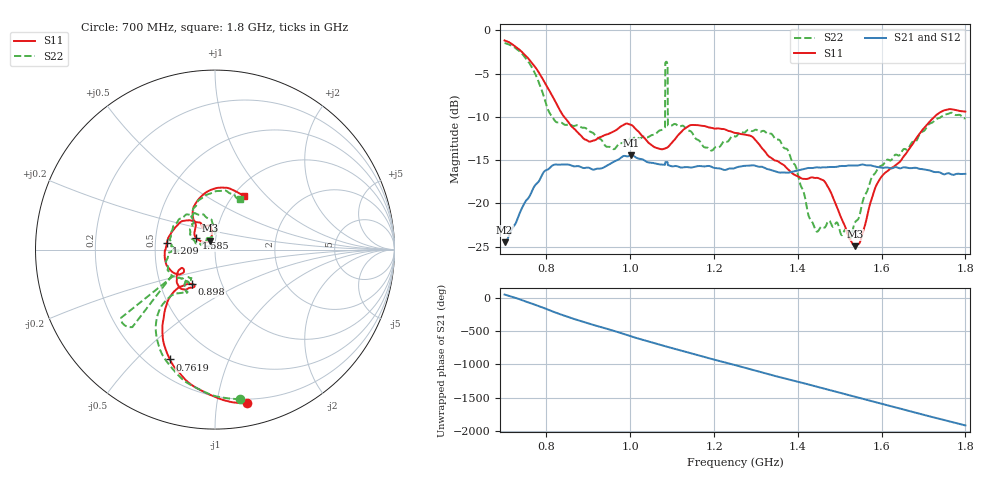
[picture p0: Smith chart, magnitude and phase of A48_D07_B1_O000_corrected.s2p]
! Created with skrf 1.9.0 (http://scikit-rf.org).
# Hz S RI R 50.0
!freq ReS11 ImS11 ReS21 ImS21 ReS12 ImS12 ReS22 ImS22
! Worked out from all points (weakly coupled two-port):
!   1601 points, 700 MHz to 1.8 GHz, reference 50 ohm
!   highest |S21| = -14.45 dB at 1.002 GHz (marker M1); lowest = -24.5 dB at 700 MHz (marker M2)
!   lowest |S11| = -24.9 dB at 1.536 GHz (marker M3), VSWR 1.12, Z = 47.2 + j4.73 ohm
!   |S11| at or under -10 dB: 842 MHz to 1.726 GHz (883.9 MHz wide, 68.8 % of centre)
!   |S22| runs from -24.1 to -1.5 dB; largest |S21 - S12| = 0.0035
!   S11 on the Smith chart (normalised r, x): 700 MHz: 0.17, -1.21; 761.9 MHz: 0.29, -0.63; 898 MHz: 0.72, -0.29; 1.209 GHz: 0.57, +0.04; 1.585 GHz: 0.80, +0.11; 1.8 GHz: 1.11, +0.75
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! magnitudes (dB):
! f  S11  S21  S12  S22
! 700 MHz  -1.2  -24.5  -24.3  -1.5
! 761.9 MHz  -3.6  -19.0  -18.9  -4.0
! 818.2 MHz  -8.0  -15.5  -15.6  -10.4
! 883.6 MHz  -12.2  -15.8  -15.7  -11.2
! 898 MHz  -12.7  -15.8  -15.9  -11.5
! 1.002 GHz  -10.9  -14.4  -14.6  -12.6
! 1.067 GHz  -13.6  -15.5  -15.4  -11.7
! 1.077 GHz  -13.7  -15.5  -15.6  -11.5
! 1.084 GHz  -13.6  -15.2  -15.2  -3.8
! 1.089 GHz  -13.5  -15.2  -15.2  -4.0
! 1.095 GHz  -13.2  -15.7  -15.7  -11.0
! 1.209 GHz  -11.3  -15.9  -16.0  -13.5
! 1.25 GHz  -11.9  -15.9  -15.8  -12.3
! 1.357 GHz  -15.3  -16.4  -16.4  -12.7
! 1.395 GHz  -16.8  -16.3  -16.2  -15.7
! 1.434 GHz  -17.0  -15.9  -15.9  -22.1
! 1.469 GHz  -17.8  -15.8  -15.8  -22.4
! 1.536 GHz  -24.9  -15.6  -15.6  -22.2
! 1.585 GHz  -18.1  -15.7  -15.7  -16.4
! 1.617 GHz  -16.1  -15.9  -15.8  -15.0
! 1.733 GHz  -9.7  -16.4  -16.4  -10.2
! 1.8 GHz  -9.4  -16.6  -16.6  -10.1
